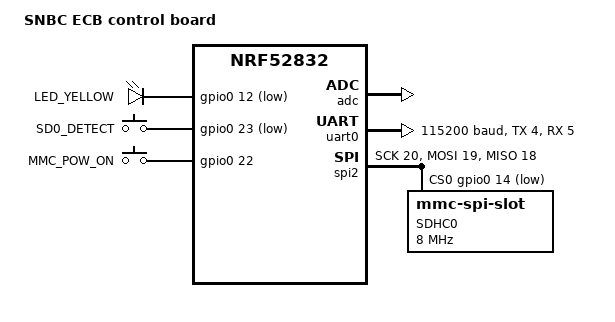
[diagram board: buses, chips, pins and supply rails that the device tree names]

/dts-v1/;
#include <nordic/nrf52832_qfaa.dtsi>

/ {
	model = "SNBC ECB control board";
	compatible = "snbc,ecb", "nordic,nrf52832-qfaa", "nordic,nrf52832";

	chosen {
		zephyr,sram = &sram0;
		zephyr,flash = &flash0;
		zephyr,code-partition = &slot0_partition;
	};

	leds {
		compatible = "gpio-leds";
		led0: led0 {
			gpios = <&gpio0 12 GPIO_ACTIVE_LOW>;
			label = "LED_YELLOW";
		};
	};

    switches {
		compatible = "gpio-keys";
		sw0: sw0 {
			label = "SD0_DETECT";
			gpios = <&gpio0 23 GPIO_ACTIVE_LOW>;
		};
		/* Note MMC_POW_ON is actually active in high even thought it is marked as MMC_POW_ONn */
		sw1: sw1 {
		    label = "MMC_POW_ON";
		    gpios = <&gpio0 22 GPIO_ACTIVE_HIGH>;
		};
	};

    aliases {
		led-status = &led0;
		sdcard-detect = &sw0;
		sdcard-pow = &sw1;
	};
};

&adc {
	status = "okay";
};

&gpiote {
	status = "okay";
};

&gpio0 {
	status = "okay";
};

&uart0 {
	status = "okay";
	compatible = "nordic,nrf-uarte";
	current-speed = <115200>;
/* wm - sim800c */
    tx-pin = <4>;
    rx-pin = <5>;
/* lb - rs485*/
/* GPIO nastaveno programove v zetbox/prj/ecb/src/ecc_bus.c ecc_uart_lb_gpio_init() */
/*	tx-pin = <6>;*/
/*	rx-pin = <8>;*/
};

&spi2 {
    compatible = "nordic,nrf-spi";
    status = "okay";
    cs-gpios = <&gpio0 14 GPIO_ACTIVE_LOW>;
    sck-pin = <20>;
    mosi-pin = <19>;
    miso-pin = <18>;

    sdhc0: sdhc@0 {
        compatible = "zephyr,mmc-spi-slot";
        reg = <0>;
        status = "okay";
        label = "SDHC0";
        spi-max-frequency = <8000000>;
    };
};

&flash0 {
	/*
	 * For more information, see:
	 * http://docs.zephyrproject.org/latest/guides/dts/index.html#flash-partitions
	 */
	partitions {
		compatible = "fixed-partitions";
		#address-cells = <1>;
		#size-cells = <1>;

		boot_partition: partition@0 {
			label = "mcuboot";
			reg = <0x00000000 0xffff>;
		};
		slot0_partition: partition@10000 {
			label = "image-0";
			reg = <0x00010000 0x69ffe>;
		};
		slot1_partition: partition@79ffe {
			label = "image-1";
			reg = <0x00079ffe 0x01>;
		};
		scratch_partition: partition@79fff {
			label = "image-scratch";
			reg = <0x00079fff 0x01>;
		};
		storage_partition: partition@7a000 {
			label = "storage";
			reg = <0x0007a000 0x00006000>;
		};
	};
};
